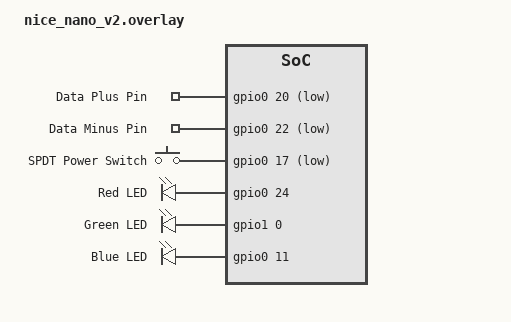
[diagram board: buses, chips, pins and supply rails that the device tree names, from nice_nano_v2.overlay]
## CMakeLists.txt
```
cmake_minimum_required(VERSION 3.20.0)
find_package(Zephyr REQUIRED HINTS $ENV{ZEPHYR_BASE})

project(Transmitter)

target_sources(app PRIVATE src/main.c)
```

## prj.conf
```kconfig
# General
CONFIG_GPIO=y
CONFIG_LOG=y

# Nordic ESB (Enhanced ShockBurst)
CONFIG_ESB=y

# Power Management
CONFIG_POWEROFF=y
CONFIG_PM_DEVICE_RUNTIME=y
CONFIG_PM_DEVICE=y

CONFIG_BUILD_OUTPUT_UF2=y
```

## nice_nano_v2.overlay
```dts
/ {
    /* Define custom GPIO nodes for inputs */
    custom_gpios {
        compatible = "gpio-keys";

        datapluspin: datapluspin_0 {
            gpios = <&gpio0 20 (GPIO_PULL_UP | GPIO_ACTIVE_LOW)>;
            label = "Data Plus Pin";
        };

        dataminuspin: dataminuspin_0 {
            gpios = <&gpio0 22 (GPIO_PULL_UP | GPIO_ACTIVE_LOW)>;
            label = "Data Minus Pin";
        };

        spdtswitchpin: spdtswitchpin_0 {
            gpios = <&gpio0 17 (GPIO_PULL_UP | GPIO_ACTIVE_LOW)>;
            label = "SPDT Power Switch";
        };
    };

    /* Define LEDs using the standard gpio-leds compatible */
    leds {
        compatible = "gpio-leds";
        ledred: ledred_0 {
            gpios = <&gpio0 24 GPIO_ACTIVE_HIGH>;
            label = "Red LED";
        };
        ledgreen: ledgreen_0 {
            gpios = <&gpio1 0 GPIO_ACTIVE_HIGH>;
            label = "Green LED";
        };
        ledblue: ledblue_0 {
            gpios = <&gpio0 11 GPIO_ACTIVE_HIGH>;
            label = "Blue LED";
        };
    };

    /* Define aliases to refer to the nodes above */
    aliases {
        datapluspin = &datapluspin;
        dataminuspin = &dataminuspin;
        spdtswitchpin = &spdtswitchpin;
        ledred = &ledred;
        ledgreen = &ledgreen;
        ledblue = &ledblue;
    };
};

/* Ensure both GPIO controllers are enabled */
&gpio0 {
    status = "okay";
};

&gpio1 {
    status = "okay";
};
```

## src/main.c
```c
/*
 * Copyright (c) 2024 Monard2033
 * SPDX-License-Identifier: Apache-2.0
 */

#include <zephyr/kernel.h>
#include <zephyr/drivers/gpio.h>
#include <zephyr/pm/pm.h>
#include <zephyr/pm/device.h>
#include <zephyr/pm/state.h>
#include <zephyr/pm/policy.h>
#include <zephyr/logging/log.h>
#include <zephyr/device.h>
#include <esb.h>
#include <zephyr/sys_clock.h>
#include <string.h>
#include <nrfx.h>
#include <zephyr/drivers/adc.h>
#include <zephyr/drivers/pwm.h>

LOG_MODULE_REGISTER(transmitter, LOG_LEVEL_INF);

static K_SEM_DEFINE(usb_configured_sem, 0, 1);
static volatile bool configured = false; 

/* --- Function Forward Declarations --- */
static void transmitter_thread(void *arg1, void *arg2, void *arg3);
void sample_and_transmit(struct k_timer *timer);
void enter_low_power(struct k_timer *dummy);
void update_sleep_timeout(void);
void led_timer_handler(struct k_timer *timer);
void check_battery_status(void);
void battery_warning_timer_handler(struct k_timer *timer);
void battery_pulse_timer_handler(struct k_timer *timer);
static void charging_pulse_timer_handler(struct k_timer *timer);
static void send_error_log(const char *msg);

/* --- Pin Definitions from Device Tree --- */
static const struct gpio_dt_spec data_plus = GPIO_DT_SPEC_GET_OR(DT_NODELABEL(data_plus), gpios, {0});
static const struct gpio_dt_spec data_minus = GPIO_DT_SPEC_GET_OR(DT_NODELABEL(data_minus), gpios, {0});
static const struct pwm_dt_spec red_pwm = PWM_DT_SPEC_GET(DT_NODELABEL(pwm_led0));
static const struct pwm_dt_spec green_pwm = PWM_DT_SPEC_GET(DT_NODELABEL(pwm_led0));
static const struct pwm_dt_spec blue_pwm = PWM_DT_SPEC_GET(DT_NODELABEL(pwm_led0));

#if DT_NODE_HAS_STATUS(ADC_NODE, okay)
static const struct adc_dt_spec adc_channel = ADC_DT_SPEC_GET();
#else
static const struct adc_dt_spec adc_channel = {
    .dev = DEVICE_DT_GET(DT_NODELABEL(adc)),
    .channel_id = 0,  // P0.04 for battery ADC
};
#endif

/* --- LED and Timer Definitions --- */
enum led_color { LED_RED, LED_GREEN, LED_BLUE, LED_OFF, LED_YELLOW, LED_ORANGE };
static K_TIMER_DEFINE(led_timer, led_timer_handler, NULL);
static K_TIMER_DEFINE(inactivity_timer, NULL, enter_low_power);
static K_TIMER_DEFINE(sampling_timer, sample_and_transmit, NULL);
static K_TIMER_DEFINE(battery_warning_timer, battery_warning_timer_handler, NULL);
static K_TIMER_DEFINE(battery_pulse_timer, battery_pulse_timer_handler, NULL);
static K_TIMER_DEFINE(charging_pulse_timer, charging_pulse_timer_handler, NULL);

/* --- ESB and Power Management --- */
static struct esb_payload tx_payload;
static uint8_t last_payload_data[2] = {0xFF, 0xFF};
#define ERROR_PAYLOAD_FLAG 0x80  // High bit indicates error message

/* --- Hysteresis Sleep Configuration --- */
#define BASE_TIMEOUT K_SECONDS(60)  // 1 minute default
#define GRACE_PERIOD_MS 2000  // 2 seconds in milliseconds
static k_timeout_t current_timeout = BASE_TIMEOUT;
static int wakeup_count = 0;
static int64_t last_sleep_time = 0;

/* --- Battery Configuration --- */
#define BATTERY_CRITICAL_THRESHOLD 15  // 15% critical level
#define BATTERY_MAX_VOLTAGE 4200  // mV (fully charged, e.g., 4.2V)
#define BATTERY_MIN_VOLTAGE 3300  // mV (fully discharged, e.g., 3.3V)
#define CHARGING_THRESHOLD_DELTA 50  // 50mV increase indicates charging
#define FULL_CHARGE_THRESHOLD 4190  // 10mV below max to account for noise
static int battery_level = 100;  // Placeholder, updated by ADC
static bool battery_warning_active = false;
static int pulse_count = 0;
static int64_t last_voltage_time = 0;
static uint32_t last_voltage_mv = 0;
static uint32_t max_voltage_mv = 0;
static bool is_charging = false;

/* --- Thread Stack --- */
K_THREAD_STACK_DEFINE(transmitter_stack, 1024);
static struct k_thread transmitter_thread_data;

/* --- Function Definitions --- */

static int set_pwm_dt(const struct pwm_dt_spec *pwm, uint8_t channel, uint32_t period, uint32_t pulse)
{
    int ret = pwm_set_dt(pwm, period, pulse);
    if (ret) {
        char msg[32];
        snprintf(msg, sizeof(msg), "PWM set failed: %d", ret);
        send_error_log(msg);
    }
    return ret;
}

void set_led_status(enum led_color color)
{
    uint32_t period = PWM_SEC(1); // 1 second base period
    uint32_t red_pulse = 0, green_pulse = 0, blue_pulse = 0;

    switch (color) {
        case LED_RED:
            red_pulse = period / 2; // 50% duty cycle
            break;
        case LED_GREEN:
            green_pulse = period / 2; // 50% duty cycle
            break;
        case LED_BLUE:
            blue_pulse = period / 2; // 50% duty cycle
            break;
        case LED_YELLOW:
            red_pulse = period / 2; green_pulse = period / 2;
            break;
        case LED_ORANGE:
            red_pulse = period / 2; green_pulse = period / 4; // 25% green for orange
            break;
        case LED_OFF:
            red_pulse = 0; green_pulse = 0; blue_pulse = 0;
            break;
    }

    if (pwm_is_ready_dt(&red_pwm)) {
        set_pwm_dt(&red_pwm, 2, period, red_pulse);   // Channel 2 for red (P0.22)
        set_pwm_dt(&red_pwm, 3, period, green_pulse); // Channel 3 for green (P0.11)
        set_pwm_dt(&red_pwm, 0, period, blue_pulse);  // Channel 0 for blue (P0.24)
    }
}

void led_timer_handler(struct k_timer *timer)
{
    if (!is_charging) {  // Only turn off if not charging
        set_led_status(LED_OFF);
    }
}

void battery_warning_timer_handler(struct k_timer *timer)
{
    if (!is_charging && battery_warning_active) {
        k_timer_start(&battery_pulse_timer, K_NO_WAIT, K_NO_WAIT);  // Start pulsing sequence
    }
}

void battery_pulse_timer_handler(struct k_timer *timer)
{
    if (pulse_count < 8 && !is_charging) {  // 4 pulses, 2 states each (on/off)
        set_led_status(LED_RED);
        k_sleep(K_MSEC(500));
        set_led_status(LED_OFF);
        k_sleep(K_MSEC(500));
        pulse_count++;
    } else {
        pulse_count = 0;
        k_timer_stop(&battery_pulse_timer);
        if (battery_warning_active && !is_charging) {
            k_timer_start(&battery_warning_timer, K_MINUTES(5), K_NO_WAIT);  // Repeat after 5 minutes
        }
    }
}

static void charging_pulse_timer_handler(struct k_timer *timer)
{
    static bool led_on = true;
    if (is_charging) {
        set_led_status(led_on ? LED_GREEN : LED_OFF);
        led_on = !led_on;
        k_timer_start(&charging_pulse_timer, K_MSEC(500), K_NO_WAIT); // Pulse every 500ms
    } else {
        k_timer_stop(&charging_pulse_timer);
        set_led_status(LED_OFF);
    }
}

void enter_low_power(struct k_timer *dummy)
{
    LOG_INF("Inactivity detected. Preparing to enter System OFF mode.");
    int retry_count = 0;
    const int max_retries = 3;
    while (retry_count < max_retries && !esb_is_idle()) {
        LOG_INF("ESB is busy, waiting %d/%d...", retry_count + 1, max_retries);
        k_sleep(K_MSEC(20));  // 20ms delay per retry
        retry_count++;
    }
    if (!esb_is_idle()) {
        char msg[32];
        snprintf(msg, sizeof(msg), "ESB busy after %d retries", max_retries);
        send_error_log(msg);
    }
    esb_disable();  // Disable ESB once idle or after retries
    set_led_status(LED_BLUE);  // Indicate power-saving mode
    k_timer_start(&led_timer, K_SECONDS(4), K_NO_WAIT);  // Blue LED for 4 seconds
    
    // Wakeup handled by GPIO interrupts
    esb_start_tx();  // Re-enable ESB on wakeup
    LOG_INF("Waking up, resetting inactivity timer.");
    k_timer_start(&inactivity_timer, K_NO_WAIT, current_timeout);
}

void update_sleep_timeout(void)
{
    int64_t now_ms = k_uptime_get();  // Current time in milliseconds
    k_ticks_t now_ticks = k_ms_to_ticks_ceil32(now_ms);  // Convert to ticks
    k_ticks_t last_ticks = k_ms_to_ticks_ceil32(last_sleep_time);  // Convert last time to ticks
    k_ticks_t grace_ticks = k_ms_to_ticks_ceil32(GRACE_PERIOD_MS);  // Convert grace period to ticks
    if (last_sleep_time != 0 && (now_ticks - last_ticks) < grace_ticks) {
        wakeup_count++;
        if (wakeup_count == 1) {
            current_timeout = K_SECONDS(120); // 2 minutes
            LOG_INF("Quick wakeup detected, increasing sleep timeout to 2 minutes.");
        } else if (wakeup_count >= 2) {
            current_timeout = K_SECONDS(180); // 3 minutes
            LOG_INF("Quick wakeup detected, increasing sleep timeout to 3 minutes.");
            wakeup_count = 2;
        } else if (wakeup_count >= 3) {
            current_timeout = K_SECONDS(240); // 4 minutes
            LOG_INF("Quick wakeup detected, increasing sleep timeout to 4 minutes.");
            wakeup_count = 3;
        } else if (wakeup_count >= 4) {
            current_timeout = K_SECONDS(300); // 5 minutes
            LOG_INF("Quick wakeup again, capping sleep timeout at 5 minutes.");
            wakeup_count = 4;
        }
    } else {
        wakeup_count = 0;
        current_timeout = BASE_TIMEOUT;
        LOG_INF("Long inactivity or fresh start, resetting sleep timeout to 1 minute.");
    }
    last_sleep_time = now_ms;
}

void pin_activity_handler(const struct device *dev, struct gpio_callback *cb, uint32_t pins)
{
    update_sleep_timeout();
    k_timer_start(&inactivity_timer, K_NO_WAIT, current_timeout);
    LOG_DBG("Pin activity detected, resetting inactivity timer to %d seconds.", K_TIMEOUT_TICKS(current_timeout) / 1000);
}

void check_battery_status(void)
{
    int16_t buf;
    struct adc_sequence sequence = {
        .channels = BIT(adc_channel.channel_id),
        .buffer = &buf,
        .buffer_size = sizeof(buf),
        .resolution = 12,
    };

    if (adc_channel.dev && device_is_ready(adc_channel.dev)) {
        if (adc_sequence_init_dt(&adc_channel, &sequence) == 0) {
            if (adc_read(adc_channel.dev, &sequence) == 0) {
                uint32_t adc_value = buf;
                uint32_t voltage_mv = (adc_value * BATTERY_MAX_VOLTAGE) / (1 << 12);  // 12-bit ADC
                battery_level = ((voltage_mv - BATTERY_MIN_VOLTAGE) * 100) / (BATTERY_MAX_VOLTAGE - BATTERY_MIN_VOLTAGE);
                if (battery_level < 0) battery_level = 0;
                if (battery_level > 100) battery_level = 100;

                LOG_INF("Battery level: %d%%, Voltage: %d mV", battery_level, voltage_mv);

                // Power-on battery status
                if (k_uptime_get() < K_TIMEOUT_TICKS(K_SECONDS(5))) {
                    if (battery_level > 75) {
                        set_led_status(LED_GREEN);
                    } else if (battery_level > 50) {
                        set_led_status(LED_YELLOW);
                    } else if (battery_level > 25) {
                        set_led_status(LED_ORANGE);
                    } else {
                        set_led_status(LED_RED);
                    }
                    k_timer_start(&led_timer, K_SECONDS(5), K_NO_WAIT);
                }

                // Charging detection
                int64_t now_ms = k_uptime_get();
                if (now_ms - last_voltage_time >= 1000) { // Check every 1 second
                    if (last_voltage_mv > 0) {
                        if ((voltage_mv - last_voltage_mv) > CHARGING_THRESHOLD_DELTA) {
                            is_charging = true;
                            k_timer_start(&charging_pulse_timer, K_MSEC(500), K_NO_WAIT); // Start pulsating
                            battery_warning_active = false; // Disable warning during charging
                            k_timer_stop(&battery_warning_timer);
                            k_timer_stop(&battery_pulse_timer);
                            LOG_INF("Charging detected, starting green pulse.");
                        } else if (is_charging && voltage_mv >= FULL_CHARGE_THRESHOLD) {
                            k_timer_stop(&charging_pulse_timer);
                            set_led_status(LED_GREEN); // Static green at full charge
                            max_voltage_mv = voltage_mv;
                            LOG_INF("Full charge reached, static green.");
                        } else if (!is_charging && last_voltage_mv > 0 && (voltage_mv - last_voltage_mv) <= -CHARGING_THRESHOLD_DELTA) {
                            // Voltage drop without charging, do nothing (LED off)
                        }
                    }
                    last_voltage_time = now_ms;
                    last_voltage_mv = voltage_mv;
                    if (voltage_mv > max_voltage_mv) {
                        max_voltage_mv = voltage_mv; // Update max voltage
                    }
                }

                // Critical battery warning (only if not charging)
                if (battery_level < BATTERY_CRITICAL_THRESHOLD && !is_charging && !battery_warning_active) {
                    battery_warning_active = true;
                    k_timer_start(&battery_warning_timer, K_NO_WAIT, K_NO_WAIT);
                }
            } else {
                send_error_log("ADC read failed");
            }
        } else {
            send_error_log("ADC sequence init failed");
        }
    } else {
        send_error_log("ADC device not ready");
    }
}

void sample_and_transmit(struct k_timer *timer)
{
    uint8_t payload_data[2];
    payload_data[0] = gpio_pin_get_dt(&data_plus);
    payload_data[1] = gpio_pin_get_dt(&data_minus);

    if (payload_data[0] != last_payload_data[0] || payload_data[1] != last_payload_data[1]) {
        k_timer_start(&inactivity_timer, K_NO_WAIT, current_timeout);
        tx_payload.length = sizeof(payload_data);
        memcpy(tx_payload.data, payload_data, sizeof(payload_data));
        
        last_payload_data[0] = payload_data[0];
        last_payload_data[1] = battery_warning_active ? 1 : payload_data[1];  // Example data tweak for warning

        if (esb_write_payload(&tx_payload) == 0) {
            LOG_INF("TX -> D+: %d, D-: %d", payload_data[0], payload_data[1]);
        } else {
            send_error_log("ESB write payload failed");
        }
    }
}


static void transmitter_thread(void *arg1, void *arg2, void *arg3)
{
    int err;

    LOG_INF("Starting Wireless Keyboard Transmitter...");

    /* --- Initialize GPIOs --- */
    if (!device_is_ready(&data_plus) || !device_is_ready(&data_minus)) {
        send_error_log("Data GPIOs not ready");
        return;
    }
    gpio_pin_configure_dt(&data_plus, GPIO_INPUT);
    gpio_pin_configure_dt(&data_minus, GPIO_INPUT);

    /* --- Initialize LEDs --- */
    if (!pwm_is_ready_dt(&red_pwm) || !pwm_is_ready_dt(&green_pwm) || !pwm_is_ready_dt(&blue_pwm)) {
        send_error_log("PWM devices not ready");
        return;
    }

    /* --- Power-On LED Status --- */
    set_led_status(LED_GREEN); // Initial state, will be updated by check_battery_status
    k_timer_start(&led_timer, K_SECONDS(5), K_NO_WAIT);  // Green LED for 5 seconds on power-on
    check_battery_status();  // Check and indicate battery status

    /* --- Configure GPIO Interrupt for Wake-up --- */
    static struct gpio_callback pin_cb_data;
    gpio_init_callback(&pin_cb_data, pin_activity_handler, BIT(data_plus.pin) | BIT(data_minus.pin));
    err = gpio_add_callback(data_plus.port, &pin_cb_data);
    if (err) {
        char msg[32];
        snprintf(msg, sizeof(msg), "Failed to add callback, err %d", err);
        send_error_log(msg);
        return;
    }
    gpio_pin_interrupt_configure_dt(&data_plus, GPIO_INT_EDGE_BOTH);
    gpio_pin_interrupt_configure_dt(&data_minus, GPIO_INT_EDGE_BOTH);

    /* --- Initialize ESB --- */
    struct esb_config config = ESB_DEFAULT_CONFIG;
    config.protocol = ESB_PROTOCOL_ESB_DPL;
    config.mode = ESB_MODE_PTX;
    config.bitrate = ESB_BITRATE_2MBPS;
    config.retransmit_count = 3;
    config.payload_length = 32;  // Increased to accommodate error messages

    err = esb_init(&config);
    if (err) {
        char msg[32];
        snprintf(msg, sizeof(msg), "ESB initialization failed, err %d", err);
        send_error_log(msg);
        return;
    }

    uint8_t base_addr_0[4] = {0xAB, 0x12, 0xCD, 0x34};
    err = esb_set_base_address_0(base_addr_0);
    if (err) { 
        send_error_log("Failed to set base address 0"); 
        return; 
    }

    uint8_t prefixes[8] = {0xA1, 0xA2, 0xA3, 0xA4, 0xA5, 0xA6, 0xA7, 0xA8};
    err = esb_set_prefixes(prefixes, 8);
    if (err) { 
        send_error_log("Failed to set prefixes"); 
        return; 
    }
    
    LOG_INF("Transmitter initialized successfully");
    
    /* --- Start Timers --- */
    k_timer_start(&sampling_timer, K_NO_WAIT, K_MSEC(10));
    k_timer_start(&inactivity_timer, K_NO_WAIT, current_timeout);

    /* --- Thread Exits, Idle Thread Takes Over --- */
}

int main(void)
{
    int err;
    LOG_INF("Attempting to enable USB...");
    if (IS_ENABLED(CONFIG_USB_DEVICE_STACK)) {
        err = usb_enable(NULL);
        if (err) {
            LOG_ERR("Failed to enable USB, err %d", err);
            return 0;
        }
        LOG_INF("USB enabled successfully.");
    }

    k_thread_create(&transmitter_thread_data, transmitter_stack,
                    K_THREAD_STACK_SIZEOF(transmitter_stack),
                    transmitter_thread, NULL, NULL, NULL,
                    K_PRIO_PREEMPT(0), 0, K_NO_WAIT);
    return 0;
}

static void send_error_log(const char *msg)
{
    if (msg && esb_is_idle()) {
        struct esb_payload error_payload;
        error_payload.noack = false;
        error_payload.length = strlen(msg) + 1;  // Include null terminator
        if (error_payload.length > sizeof(error_payload.data)) {
            error_payload.length = sizeof(error_payload.data);  // Truncate if too long
        }
        memcpy(error_payload.data, msg, error_payload.length);
        error_payload.data[0] |= ERROR_PAYLOAD_FLAG;  // Set flag to indicate error
        if (esb_write_payload(&error_payload) != 0) {
            // Fallback if ESB write fails (optional logging to console if desired)
        }
    }
}
```
